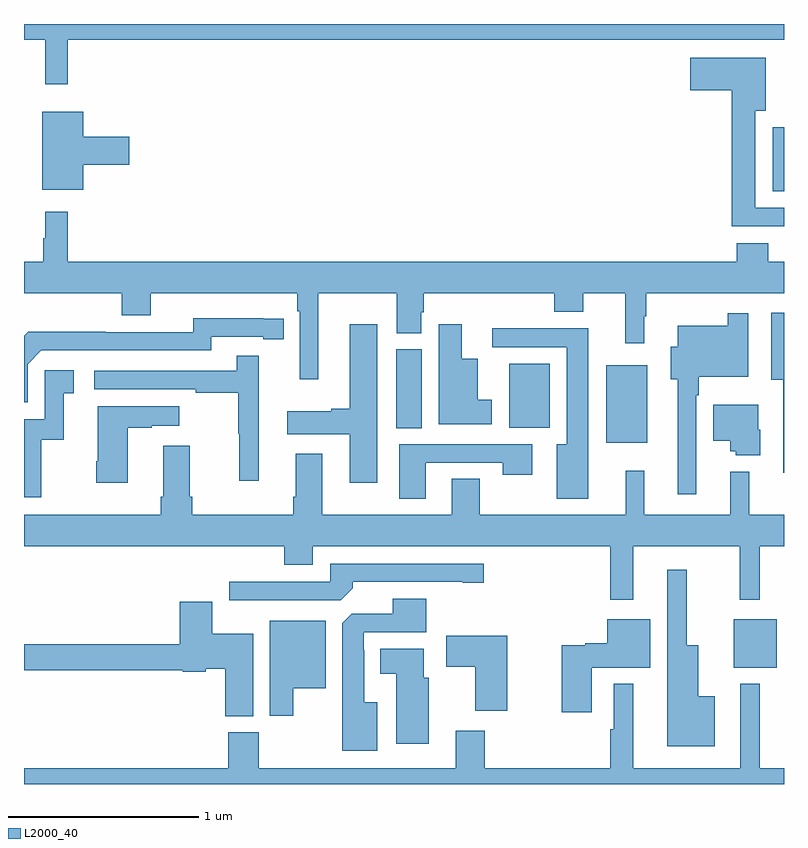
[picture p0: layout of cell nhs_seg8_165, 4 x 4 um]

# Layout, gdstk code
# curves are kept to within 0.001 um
import gdstk
lib = gdstk.Library(unit=1e-6, precision=1e-09)
def R(c, l, rs):  # rectangles x0, y0, x1, y1
    for r in rs: c.add(gdstk.rectangle(r[:2], r[2:], *l))
def P(c, l, *ps):  # polygons
    for p in ps: c.add(gdstk.Polygon(p, *l))
L2000_40 = (2000, 40)

nhs_seg8_165 = lib.new_cell('nhs_seg8_165')
R(nhs_seg8_165, L2000_40, [(124.736,1130.513,124.963,1130.767), (124.064,1131.695,124.279,1132.105), (122.96,1131.772,123.094,1132.188), (123.554,1131.776,123.766,1132.111), (124.94,1133.021,125,1133.356)])
P(nhs_seg8_165, L2000_40, [(121.229,1133.816),(125,1133.816),(125,1133.9),(121,1133.9),(121,1133.816),(121.112,1133.816),(121.112,1133.583),(121.229,1133.583)],
  [(125,1132.932),(124.849,1132.932),(124.849,1133.444),(124.903,1133.444),(124.903,1133.722),(124.506,1133.722),(124.506,1133.552),(124.724,1133.552),(124.724,1132.835),(125,1132.835)],
  [(121.312,1133.159),(121.555,1133.159),(121.555,1133.306),(121.312,1133.306),(121.312,1133.437),(121.097,1133.437),(121.097,1133.027),(121.312,1133.027)],
  [(122.548,1132.484),(122.963,1132.484),(122.963,1132.273),(123.091,1132.273),(123.091,1132.383),(123.104,1132.383),(123.104,1132.484),(123.791,1132.484),(123.791,1132.385),(123.943,1132.385),(123.943,1132.484),(124.165,1132.484),(124.165,1132.221),(124.264,1132.221),(124.264,1132.361),(124.276,1132.361),(124.276,1132.484),(125,1132.484),(125,1132.648),(124.916,1132.648),(124.916,1132.747),(124.751,1132.747),(124.751,1132.648),(121.229,1132.648),(121.229,1132.912),(121.112,1132.912),(121.112,1132.772),(121.101,1132.772),(121.101,1132.648),(121,1132.648),(121,1132.484),(121.514,1132.484),(121.514,1132.367),(121.666,1132.367),(121.666,1132.484),(122.438,1132.484),(122.438,1132.388),(122.451,1132.388),(122.451,1132.029),(122.548,1132.029)],
  [(125,1132.381),(124.934,1132.381),(124.934,1132.028),(124.995,1132.028),(124.995,1131.537),(125,1131.537)],
  [(124.539,1131.947),(124.552,1131.947),(124.552,1132.043),(124.812,1132.043),(124.812,1132.378),(124.704,1132.378),(124.704,1132.312),(124.442,1132.312),(124.442,1132.201),(124.403,1132.201),(124.403,1132.031),(124.442,1132.031),(124.442,1131.426),(124.539,1131.426)],
  [(121.02,1132.11),(121.092,1132.182),(121.986,1132.182),(121.986,1132.254),(122.258,1132.254),(122.258,1132.242),(122.366,1132.242),(122.366,1132.35),(121.89,1132.351),(121.89,1132.278),(121.43,1132.278),(121.43,1132.28),(121.022,1132.28),(121,1132.258),(121,1131.909),(121.02,1131.909)],
  [(122.86,1132.321),(122.714,1132.321),(122.714,1131.875),(122.618,1131.875),(122.618,1131.862),(122.385,1131.862),(122.385,1131.74),(122.714,1131.74),(122.714,1131.486),(122.86,1131.486)],
  [(123.463,1131.922),(123.388,1131.922),(123.388,1132.138),(123.304,1132.138),(123.304,1132.321),(123.182,1132.321),(123.182,1131.794),(123.463,1131.794)],
  [(123.97,1132.298),(123.465,1132.298),(123.465,1132.2),(123.857,1132.2),(123.857,1131.688),(123.803,1131.688),(123.803,1131.402),(123.97,1131.402)],
  [(122.236,1132.153),(122.119,1132.153),(122.119,1132.074),(121.371,1132.074),(121.371,1131.978),(121.903,1131.978),(121.903,1131.958),(122.127,1131.958),(122.127,1131.744),(122.134,1131.744),(122.134,1131.495),(122.236,1131.495)],
  [(121.09,1131.711),(121.208,1131.711),(121.208,1131.957),(121.261,1131.957),(121.261,1132.078),(121.11,1132.078),(121.11,1131.819),(121,1131.819),(121,1131.408),(121.09,1131.408)],
  [(124.876,1131.765),(124.864,1131.765),(124.864,1131.895),(124.628,1131.895),(124.628,1131.707),(124.718,1131.707),(124.718,1131.651),(124.746,1131.651),(124.746,1131.629),(124.876,1131.629)],
  [(121.546,1131.775),(121.673,1131.775),(121.673,1131.785),(121.816,1131.785),(121.816,1131.889),(121.388,1131.889),(121.388,1131.598),(121.381,1131.598),(121.381,1131.486),(121.546,1131.486)],
  [(123.115,1131.591),(123.52,1131.591),(123.52,1131.528),(123.676,1131.528),(123.676,1131.687),(122.975,1131.687),(122.975,1131.402),(123.115,1131.402)],
  [(124.207,1131.152),(124.767,1131.152),(124.767,1130.871),(124.873,1130.871),(124.873,1131.152),(125,1131.152),(125,1131.316),(124.817,1131.316),(124.817,1131.544),(124.718,1131.544),(124.718,1131.316),(124.265,1131.316),(124.265,1131.55),(124.166,1131.55),(124.166,1131.316),(123.399,1131.316),(123.399,1131.506),(123.251,1131.506),(123.251,1131.316),(122.569,1131.316),(122.569,1131.637),(122.429,1131.637),(122.429,1131.412),(122.417,1131.412),(122.417,1131.316),(121.886,1131.316),(121.886,1131.412),(121.873,1131.412),(121.873,1131.679),(121.733,1131.679),(121.733,1131.412),(121.721,1131.412),(121.721,1131.316),(121,1131.316),(121,1131.152),(122.369,1131.152),(122.369,1131.053),(122.521,1131.053),(122.521,1131.152),(124.086,1131.152),(124.086,1130.871),(124.207,1130.871)],
  [(122.729,1130.93),(122.729,1130.964),(123.308,1130.964),(123.308,1130.959),(123.421,1130.959),(123.421,1131.06),(122.613,1131.06),(122.613,1130.964),(122.079,1130.964),(122.079,1130.868),(122.667,1130.868)],
  [(124.636,1130.362),(124.549,1130.362),(124.549,1130.629),(124.489,1130.629),(124.489,1131.028),(124.385,1131.028),(124.385,1130.099),(124.636,1130.099)],
  [(122.86,1130.329),(122.791,1130.329),(122.791,1130.603),(122.787,1130.603),(122.787,1130.7),(123.118,1130.7),(123.118,1130.875),(122.942,1130.875),(122.942,1130.796),(122.724,1130.796),(122.675,1130.747),(122.675,1130.075),(122.86,1130.075)],
  [(122.206,1130.692),(121.99,1130.692),(121.99,1130.86),(121.82,1130.86),(121.82,1130.636),(121,1130.636),(121,1130.5),(121.836,1130.5),(121.836,1130.492),(121.956,1130.492),(121.956,1130.507),(122.06,1130.507),(122.06,1130.257),(122.206,1130.257)],
  [(123.988,1130.513),(124.297,1130.513),(124.297,1130.767),(124.07,1130.767),(124.07,1130.642),(123.954,1130.642),(123.954,1130.629),(123.83,1130.629),(123.83,1130.277),(123.988,1130.277)],
  [(122.416,1130.405),(122.587,1130.405),(122.587,1130.758),(122.294,1130.758),(122.294,1130.259),(122.416,1130.259)],
  [(123.544,1130.68),(123.222,1130.68),(123.222,1130.518),(123.374,1130.518),(123.374,1130.285),(123.544,1130.285)],
  [(123.13,1130.46),(123.103,1130.46),(123.103,1130.611),(122.876,1130.611),(122.876,1130.48),(122.96,1130.48),(122.96,1130.112),(123.13,1130.112)],
  [(125,1129.984),(124.873,1129.984),(124.873,1130.428),(124.769,1130.428),(124.769,1129.984),(124.207,1129.984),(124.207,1130.428),(124.103,1130.428),(124.103,1130.189),(124.086,1130.189),(124.086,1129.984),(123.425,1129.984),(123.425,1130.179),(123.272,1130.179),(123.272,1129.984),(122.235,1129.984),(122.235,1130.172),(122.075,1130.172),(122.075,1129.984),(121,1129.984),(121,1129.9),(125,1129.9)])

lib.write_gds('nhs_seg8_165.gds')
